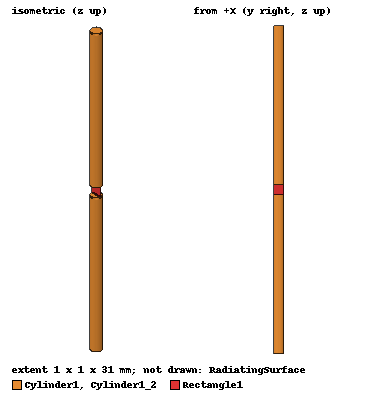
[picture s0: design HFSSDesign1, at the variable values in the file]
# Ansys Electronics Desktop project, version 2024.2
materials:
  vacuum: permittivity=1
  copper: permeability=0.999991 conductivity=58000000

design HFSSDesign1 (HFSS, HFSS Terminal Network, model units mm)
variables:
  rant = 0.5mm
  lant = 30mm
  gap = 1mm
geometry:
  Cylinder1 [copper] = cylinder(axis=Z, base_centre=(0mm, 0mm, gap/2), radius=rant, height=lant/2)
  Cylinder1_2 [copper] = Cylinder1.duplicate_mirror(point=(0mm, 0mm, 0mm), normal=(0mm, 0mm, -1mm))
  Rectangle1 = rectangle(corner=(0mm, -rant, -gap/2), y_size=rant*2, z_size=gap)
  RadiatingSurface [vacuum] = region(absolute_offset=20mm on all sides)
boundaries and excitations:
  Open1: Radiation Objects=RadiatingSurface
  1: Lumped Port Objects=Rectangle1 LumpedPortType=Modal Modes{Mode1{IntLine{(0, 0, -0.5) -> (0, 0, 0.5)} CharImp=Zpi}} Impedance=50ohm
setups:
  Setup1: HfssDriven MultipleAdaptiveFreqsSetup{Low=2GHz High=20GHz} MaxDeltaS=0.02 MaximumPasses=6 MinimumPasses=1 MinimumConvergedPasses=1 PercentRefinement=30 BasisOrder=1 PortAccuracy=2 DrivenSolverType="Direct Solver"
  Setup2: HfssDriven MultipleAdaptiveFreqsSetup{Low=1GHz High=10GHz} MaxDeltaS=0.02 MaximumPasses=6 MinimumPasses=1 MinimumConvergedPasses=1 PercentRefinement=30 BasisOrder=1 PortAccuracy=2 DrivenSolverType="Direct Solver"
    sweep Sweep: 1GHz to 10GHz, 101 points; Type=Interpolating SaveFields InterpTolerance=0.5 InterpMaxSolns=250 PassivityErrorTolerance=0.0001
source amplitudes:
  1:1: 1V 0deg
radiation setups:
  3D: Infinite Sphere Theta=0deg..180deg step 2deg Phi=-180deg..180deg step 2deg
  Elevation: Infinite Sphere Theta=-180deg..180deg step 1deg Phi=0deg..90deg step 90deg
  Azimuth: Infinite Sphere Theta=90deg..90deg step 0deg Phi=-180deg..180deg step 1deg
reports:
  S Parameter Plot 1: dB(S(1,1)) vs Freq on Setup2 : Sweep; markers m1 at 4.06GHz, m4 at 4.6GHz
  Gain Plot 1: dB(GainTotal) vs Phi, Theta on Setup1 : LastAdaptive, 3D [Freq=11GHz]
